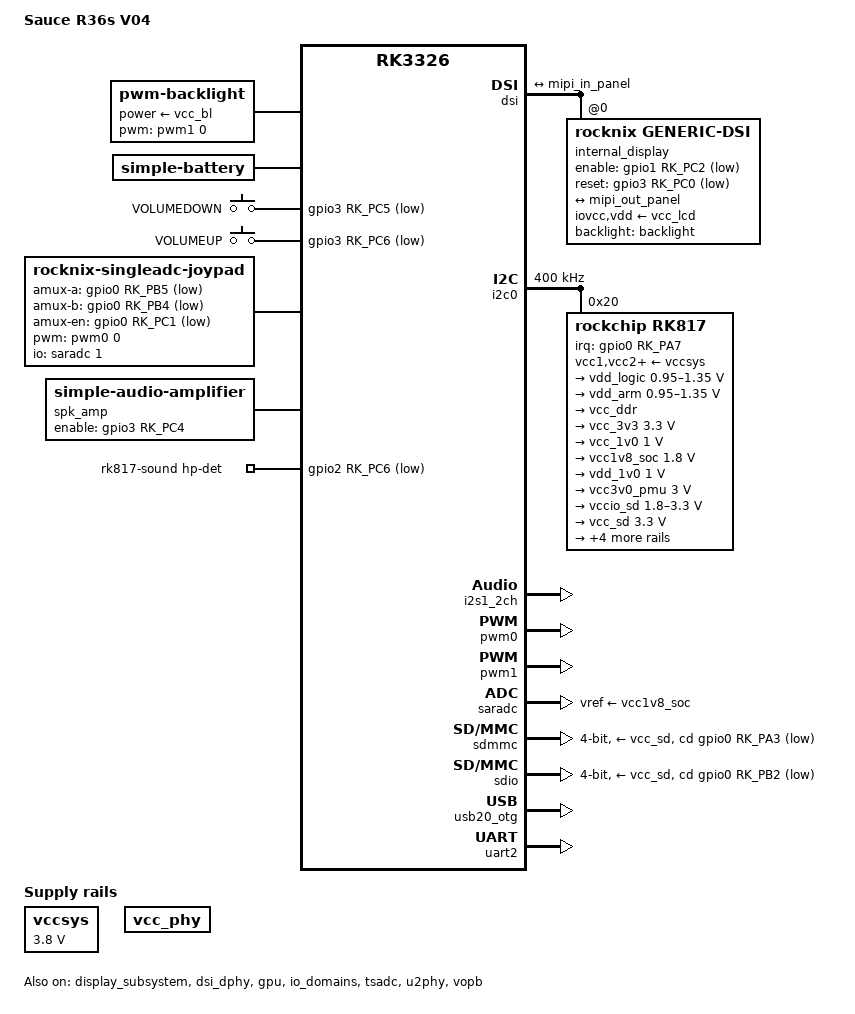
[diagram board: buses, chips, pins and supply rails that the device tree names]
// SPDX-License-Identifier: (GPL-2.0+ OR MIT)
/*
* # Copyright (C) 2022-24 JELOS (https://github.com/JustEnoughLinuxOS)
*/

/dts-v1/;
#include <dt-bindings/gpio/gpio.h>
#include <dt-bindings/input/input.h>
#include <dt-bindings/leds/common.h>
#include <dt-bindings/pinctrl/rockchip.h>
#include "rk3326.dtsi"

/ {
	model = "Sauce R36s V04";
	compatible = "xifan,r36s", "rockchip,rk3326";
	
	aliases {
		mmc1 = &sdio;
		mmc0 = &sdmmc;
	};
	
	chosen {
		stdout-path = "serial2:115200n8";
	};
	
	backlight: backlight {
		compatible = "pwm-backlight";
		power-supply = <&vcc_bl>;
		pwms = <&pwm1 0 40000 0>;
		brightness-levels = <
		0   1   2   3   4   5   6   7
		8   9  10  11  12  13  14  15
		16  17  18  19  20  21  22  23
		24  25  26  27  28  29  30  31
		32  33  34  35  36  37  38  39
		40  41  42  43  44  45  46  47
		48  49  50  51  52  53  54  55
		56  57  58  59  60  61  62  63
		64  65  66  67  68  69  70  71
		72  73  74  75  76  77  78  79
		80  81  82  83  84  85  86  87
		88  89  90  91  92  93  94  95
		96  97  98  99 100 101 102 103
		104 105 106 107 108 109 110 111
		112 113 114 115 116 117 118 119
		120 121 122 123 124 125 126 127
		128 129 130 131 132 133 134 135
		136 137 138 139 140 141 142 143
		144 145 146 147 148 149 150 151
		152 153 154 155 156 157 158 159
		160 161 162 163 164 165 166 167
		168 169 170 171 172 173 174 175
		176 177 178 179 180 181 182 183
		184 185 186 187 188 189 190 191
		192 193 194 195 196 197 198 199
		200 201 202 203 204 205 206 207
		208 209 210 211 212 213 214 215
		216 217 218 219 220 221 222 223
		224 225 226 227 228 229 230 231
		232 233 234 235 236 237 238 239
		240 241 242 243 244 245 246 247
		248 249 250 251 252 253 254 255>;
		default-brightness-level = <80>;
	};
	
	battery: battery {
		compatible = "simple-battery";
		charge-full-design-microamp-hours = <3000000>;
		charge-term-current-microamp = <200000>;
		constant-charge-current-max-microamp = <1500000>;
		constant-charge-voltage-max-microvolt = <4200000>;
		factory-internal-resistance-micro-ohms = <100000>;
		voltage-max-design-microvolt = <4100000>;
		voltage-min-design-microvolt = <3300000>;
		
		ocv-capacity-celsius = <20>;
		ocv-capacity-table-0 =
		<4046950 100>, <4001920 95>, <3967900 90>, <3940000 85>,
		<3910000 80>, <3870000 75>, <3830000 70>, <3790000 65>,
		<3750000 60>, <3720000 55>, <3690000 50>, <3650000 45>,
		<3610000 40>, <3570000 35>, <3540000 30>, <3500000 25>,
		<3460000 20>, <3420000 15>, <3380000 10>, <3340000 5>,
		<3300000 0>;
	};
	
	gpio-keys-vol {
		compatible = "gpio-keys";
		autorepeat;
		pinctrl-0 = <&btn_pins_vol>;
		pinctrl-names = "default";
		
		button-vol-down {
			gpios = <&gpio3 RK_PC5 GPIO_ACTIVE_LOW>;
			label = "VOLUMEDOWN";
			linux,code = <KEY_VOLUMEDOWN>;
		};
		
		button-volume-up {
			gpios = <&gpio3 RK_PC6 GPIO_ACTIVE_LOW>;
			label = "VOLUMEUP";
			linux,code = <KEY_VOLUMEUP>;
		};
	};
	
	joypad: rocknix-singleadc-joypad {
		compatible = "rocknix-singleadc-joypad";
		pwms = <&pwm0 0 200000000 0>;
		pwm-names = "enable";
		rumble-boost-weak = <0x0000>;
		rumble-boost-strong = <0x0000>;
		
		joypad-name = "retrogame_joypad";
		joypad-vendor = <0x484B>;
		joypad-product = <0x1101>;
		joypad-revision = <0x0100>;
		
		status = "okay";
		
		/* gpio pincontrol setup */
		pinctrl-names = "default";
		pinctrl-0 = <&btn_pins>;
		pinctrl-1 = <&pwm0_pin>;
		
		/* Analog mux define */
		io-channel-names = "amux_adc";
		io-channels = <&saradc 1>;
		
		/* adc mux channel count */
		amux-count = <4>;
		amux-channel-mapping = <3 2 0 1>;
		/* adc mux select(a,b) gpio */
		amux-a-gpios = <&gpio0 RK_PB5 GPIO_ACTIVE_LOW>;
		amux-b-gpios = <&gpio0 RK_PB4 GPIO_ACTIVE_LOW>;
		/* adc mux enable gpio */
		amux-en-gpios = <&gpio0 RK_PC1 GPIO_ACTIVE_LOW>;
		
		/* adc calculate scale */
		button-adc-scale = <2>;
		
		/* adc deadzone range  */
		button-adc-deadzone = <64>;
		
		/*
		specifies fuzz value that is used to filter noise from
		the event stream.
		*/
		button-adc-fuzz = <32>;
		button-adc-flat = <32>;
		
		/*
		Analog Stick data tuning value(precent)
		p = positive direction, n = negative direction
		report value = (real_adc_data * tuning_value) / 100
		*/
		abs_x-p-tuning = <300>;
		abs_x-n-tuning = <300>;
		
		abs_y-p-tuning = <300>;
		abs_y-n-tuning = <300>;
		
		abs_rx-p-tuning = <300>;
		abs_rx-n-tuning = <300>;
		
		abs_ry-p-tuning = <300>;
		abs_ry-n-tuning = <300>;
		
		/* poll device interval (ms), adc read interval */
		poll-interval = <10>;
		
		/* required for RG36S */
		invert-absx;
		invert-absy;
		
		/* gpio button auto repeat set value : default disable */
		/*
		autorepeat;
		*/
		
		/*
		joypad driver is poll-device driver.
		poll-device is does not support wakeup-source.
		*/
		sw1 {
			gpios = <&gpio3 RK_PA7 GPIO_ACTIVE_LOW>;
			label = "GPIO DPAD-UP";
			linux,code = <BTN_DPAD_UP>;
		};
		sw2 {
			gpios = <&gpio3 RK_PB0 GPIO_ACTIVE_LOW>;
			label = "GPIO DPAD-DOWN";
			linux,code = <BTN_DPAD_DOWN>;
		};
		sw3 {
			gpios = <&gpio3 RK_PB2 GPIO_ACTIVE_LOW>;
			label = "GPIO DPAD-LEFT";
			linux,code = <BTN_DPAD_LEFT>;
		};
		sw4 {
			gpios = <&gpio3 RK_PB1 GPIO_ACTIVE_LOW>;
			label = "GPIO DPAD-RIGHT";
			linux,code = <BTN_DPAD_RIGHT>;
		};
		sw5 {
			gpios = <&gpio3 RK_PB6 GPIO_ACTIVE_LOW>;
			label = "GPIO BTN-A";
			linux,code = <BTN_EAST>;
		};
		sw6 {
			gpios = <&gpio3 RK_PB4 GPIO_ACTIVE_LOW>;
			label = "GPIO BTN-B";
			linux,code = <BTN_SOUTH>;
		};
		sw7 {
			gpios = <&gpio3 RK_PB3 GPIO_ACTIVE_LOW>;
			label = "GPIO BTN-Y";
			linux,code = <BTN_WEST>;
		};
		sw8 {
			gpios = <&gpio3 RK_PB5 GPIO_ACTIVE_LOW>;
			label = "GPIO BTN-X";
			linux,code = <BTN_NORTH>;
		};
		sw11 {
			gpios = <&gpio0 RK_PB3 GPIO_ACTIVE_LOW>;
			label = "BTN_THUMBL";
			linux,code = <BTN_THUMBL>;
		};
		sw12 {
			gpios = <&gpio3 RK_PD3 GPIO_ACTIVE_LOW>;
			label = "BTN_THUMBR";
			linux,code = <BTN_THUMBR>;
		};
		sw13 {
			gpios = <&gpio3 RK_PA4 GPIO_ACTIVE_LOW>;
			label = "GPIO BTN_F";
			linux,code = <BTN_MODE>;
		};
		sw15 {
			gpios = <&gpio3 RK_PA3 GPIO_ACTIVE_LOW>;
			label = "GPIO BTN_TL";
			linux,code = <BTN_TL>;
		};
		sw16 {
			gpios = <&gpio3 RK_PA0 GPIO_ACTIVE_LOW>;
			label = "GPIO BTN_TR";
			linux,code = <BTN_TR>;
		};
		sw19 {
			gpios = <&gpio3 RK_PA5 GPIO_ACTIVE_LOW>;
			label = "BTN_SELECT";
			linux,code = <BTN_SELECT>;
		};
		sw20 {
			gpios = <&gpio3 RK_PA2 GPIO_ACTIVE_LOW>;
			label = "GPIO BTN_TL2";
			linux,code = <BTN_TL2>;
		};
		sw21 {
			gpios = <&gpio3 RK_PA1 GPIO_ACTIVE_LOW>;
			label = "GPIO BTN_TR2";
			linux,code = <BTN_TR2>;
		};
		sw22 {
			gpios = <&gpio3 RK_PA6 GPIO_ACTIVE_LOW>;
			label = "BTN_START";
			linux,code = <BTN_START>;
		};
	};
	
	spk_amp: audio-amplifier {
		compatible = "simple-audio-amplifier";
		enable-gpios = <&gpio3 RK_PC4 GPIO_ACTIVE_HIGH>;
		pinctrl-0 = <&spk_amp_enable_h>;
		pinctrl-names = "default";
		sound-name-prefix = "Speaker Amp";
	};
	
	rk817-sound {
		compatible = "simple-audio-card";
		pinctrl-names = "default";
		pinctrl-0 = <&hp_det>;
		simple-audio-card,name = "rk817_ext";
		simple-audio-card,aux-devs = <&spk_amp>;
		simple-audio-card,format = "i2s";
		simple-audio-card,hp-det-gpio = <&gpio2 RK_PC6 GPIO_ACTIVE_LOW>;
		simple-audio-card,mclk-fs = <256>;
		simple-audio-card,widgets =
		"Microphone", "Mic Jack",
		"Headphone", "Headphones",
		"Speaker", "Speaker";
		simple-audio-card,routing =
		"MICL", "Mic Jack",
		"Headphones", "HPOL",
		"Headphones", "HPOR",
		"Speaker", "SPKO";
		
		simple-audio-card,codec {
			sound-dai = <&rk817>;
		};
		
		simple-audio-card,cpu {
			sound-dai = <&i2s1_2ch>;
		};
	};
	
	vccsys: vccsys {
		compatible = "regulator-fixed";
		regulator-name = "vcc3v8_sys";
		regulator-always-on;
		regulator-min-microvolt = <3800000>;
		regulator-max-microvolt = <3800000>;
	};
	
	vcc-phy-regulator {
		compatible = "regulator-fixed";
		regulator-name = "vcc_phy";
		regulator-always-on;
		regulator-boot-on;
	};
};

&dmc {
	center-supply = <&vdd_logic>;
};

&cpu0 {
	cpu-supply = <&vdd_arm>;
};

&cpu1 {
	cpu-supply = <&vdd_arm>;
};

&cpu2 {
	cpu-supply = <&vdd_arm>;
};

&cpu3 {
	cpu-supply = <&vdd_arm>;
};

&cru {
	assigned-clocks = <&cru PLL_NPLL>,
	<&cru ACLK_BUS_PRE>, <&cru ACLK_PERI_PRE>,
	<&cru HCLK_BUS_PRE>, <&cru HCLK_PERI_PRE>,
	<&cru PCLK_BUS_PRE>, <&cru SCLK_GPU>;
	
	assigned-clock-rates = <1188000000>,
	<200000000>, <200000000>,
	<150000000>, <150000000>,
	<100000000>, <200000000>;
};

&display_subsystem {
	status = "okay";
};

&dsi {
	status = "okay";
	
	ports {
		mipi_out: port@1 {
			reg = <1>;
			
			mipi_out_panel: endpoint {
				remote-endpoint = <&mipi_in_panel>;
			};
		};
	};
	
	internal_display: panel@0 {
		compatible = "rocknix,generic-dsi";
		iovcc-supply = <&vcc_lcd>;
		vdd-supply = <&vcc_lcd>;
		reg = <0>;
		backlight = <&backlight>;
		enable-gpios = <&gpio1 RK_PC2 GPIO_ACTIVE_LOW>;
		reset-gpios = <&gpio3 RK_PC0 GPIO_ACTIVE_LOW>;
		pinctrl-names = "default";
		pinctrl-0 = <&lcd_rst>;
		panel_description =
		"G size=71,71 delays=100,50,20,200,20 format=rgb888 lanes=4 flags=0xe03",
		
		"M clock=40760 horizontal=640,120,139,120 vertical=480,17,5,13 default=1",
		"M clock=27650 horizontal=640,188,9,190 vertical=480,13,41,5",
		"M clock=25500 horizontal=640,188,2,190 vertical=480,13,2,5",
		"M clock=23930 horizontal=640,87,39,87 vertical=480,13,63,5",
		"M clock=23460 horizontal=640,87,2,87 vertical=480,13,2,5",
		"M clock=26600 horizontal=640,87,20,87 vertical=480,13,36,5",
		"M clock=24840 horizontal=640,87,5,87 vertical=480,13,8,5",
		"# failed to find mode for fps=60.000000 c=30600 h=816 v=500",
		"M clock=30620 horizontal=640,87,38,87 vertical=480,13,100,5",
		"M clock=43580 horizontal=640,120,168,120 vertical=480,17,41,13",
		"M clock=46350 horizontal=640,120,120,120 vertical=480,17,5,13",
		"M clock=61800 horizontal=640,120,120,120 vertical=480,17,5,13",
		
		"I seq=b9f11283",
		"I seq=ba338105f90e0e2000000000000000442500910a0000024fd1000037",
		"I seq=b825",
		"I seq=bf021100",
		"I seq=b30c100a5003ff00000000",
		"I seq=c0737350500000087000",
		"I seq=bc46",
		"I seq=cc0b",
		"I seq=b480",
		"I seq=b20013f0",
		"I seq=e307070b0b030b00000000ff00c010",
		"I seq=c153001e1e77e1ccdd67773333",
		"I seq=b51010",
		"I seq=b66c7c",
		"I seq=e908000e0000b0b11131232810b0b127080004020000000004020000008888ba60240888888888888888ba713518888888888800000001000000000000000000",
		"I seq=ea970a820213070000000000008088ba17538888888888888188ba0642888888888888231000028000000000000000000000000000000000000000000000",
		"I seq=e000070b272d3f3b37050a0b0f110f12121800070b272d3f3b37050a0b0f110f121218",
		"I seq=11 wait=150",
		"I seq=29 wait=50";
		port {
			mipi_in_panel: endpoint {
				remote-endpoint = <&mipi_out_panel>;
			};
		};
	};
};

&dsi_dphy {
	status = "okay";
};

&gpu {
	mali-supply = <&vdd_logic>;
	status = "okay";
};

&i2c0 {
	clock-frequency = <400000>;
	i2c-scl-falling-time-ns = <16>;
	i2c-scl-rising-time-ns = <280>;
	status = "okay";
	
	rk817: pmic@20 {
		compatible = "rockchip,rk817";
		reg = <0x20>;
		interrupt-parent = <&gpio0>;
		interrupts = <RK_PA7 IRQ_TYPE_LEVEL_LOW>;
		clock-output-names = "rk808-clkout1", "xin32k";
		clock-names = "mclk";
		clocks = <&cru SCLK_I2S1_OUT>;
		pinctrl-names = "default";
		pinctrl-0 = <&pmic_int>, <&i2s1_2ch_mclk>;
		rockchip,system-power-controller;
		wakeup-source;
		#clock-cells = <1>;
		#sound-dai-cells = <0>;
		
		vcc1-supply = <&vccsys>;
		vcc2-supply = <&vccsys>;
		vcc3-supply = <&vccsys>;
		vcc4-supply = <&vccsys>;
		vcc5-supply = <&vccsys>;
		vcc6-supply = <&vccsys>;
		vcc7-supply = <&vccsys>;
		vcc8-supply = <&vccsys>;
		
		regulators {
			vdd_logic: DCDC_REG1 {
				regulator-name = "vdd_logic";
				regulator-min-microvolt = <950000>;
				regulator-max-microvolt = <1350000>;
				regulator-initial-mode = <0x02>;
				regulator-ramp-delay = <6001>;
				regulator-always-on;
				regulator-boot-on;
				
				regulator-state-mem {
					regulator-on-in-suspend;
					regulator-suspend-microvolt = <950000>;
				};
			};
			
			vdd_arm: DCDC_REG2 {
				regulator-name = "vdd_arm";
				regulator-min-microvolt = <950000>;
				regulator-max-microvolt = <1350000>;
				regulator-ramp-delay = <6001>;
				regulator-initial-mode = <0x02>;
				regulator-always-on;
				regulator-boot-on;
				
				regulator-state-mem {
					regulator-off-in-suspend;
					regulator-suspend-microvolt = <950000>;
				};
			};
			
			vcc_ddr: DCDC_REG3 {
				regulator-name = "vcc_ddr";
				regulator-always-on;
				regulator-boot-on;
				regulator-initial-mode = <0x02>;
				
				regulator-state-mem {
					regulator-on-in-suspend;
				};
			};
			
			vcc_3v3: DCDC_REG4 {
				regulator-name = "vcc_3v3";
				regulator-min-microvolt = <3300000>;
				regulator-max-microvolt = <3300000>;
				regulator-initial-mode = <0x02>;
				regulator-always-on;
				regulator-boot-on;
				
				regulator-state-mem {
					regulator-on-in-suspend;
					regulator-suspend-microvolt = <3300000>;
				};
			};
			
			vcc_1v0: LDO_REG1 {
				regulator-name = "vcc_1v0";
				regulator-always-on;
				regulator-boot-on;
				regulator-min-microvolt = <1000000>;
				regulator-max-microvolt = <1000000>;
				
				regulator-state-mem {
					regulator-off-in-suspend;
					regulator-suspend-microvolt = <1000000>;
				};
			};
			
			vcc1v8_soc: LDO_REG2 {
				regulator-name = "vcc1v8_soc";
				regulator-min-microvolt = <1800000>;
				regulator-max-microvolt = <1800000>;
				regulator-always-on;
				regulator-boot-on;
				
				regulator-state-mem {
					regulator-on-in-suspend;
					regulator-suspend-microvolt = <1800000>;
				};
			};
			
			vdd_1v0: LDO_REG3 {
				regulator-name = "vdd_1v0";
				regulator-min-microvolt = <1000000>;
				regulator-max-microvolt = <1000000>;
				regulator-always-on;
				regulator-boot-on;
				
				regulator-state-mem {
					regulator-on-in-suspend;
					regulator-suspend-microvolt = <1000000>;
				};
			};
			
			vcc3v0_pmu: LDO_REG4 {
				regulator-name = "vcc3v0_pmu";
				regulator-min-microvolt = <3000000>;
				regulator-max-microvolt = <3000000>;
				regulator-always-on;
				regulator-boot-on;
				
				regulator-state-mem {
					regulator-on-in-suspend;
					regulator-suspend-microvolt = <3000000>;
				};
			};
			
			vccio_sd: LDO_REG5 {
				regulator-name = "vccio_sd";
				regulator-min-microvolt = <1800000>;
				regulator-max-microvolt = <3300000>;
				regulator-always-on;
				regulator-boot-on;
				
				regulator-state-mem {
					regulator-on-in-suspend;
					regulator-suspend-microvolt = <3300000>;
				};
			};
			
			vcc_sd: LDO_REG6 {
				regulator-name = "vcc_sd";
				regulator-min-microvolt = <3300000>;
				regulator-max-microvolt = <3300000>;
				regulator-boot-on;
				
				regulator-state-mem {
					regulator-on-in-suspend;
					regulator-suspend-microvolt = <3300000>;
				};
			};
			
			vcc_bl: LDO_REG7 {
				regulator-name = "vcc_bl";
				regulator-min-microvolt = <3300000>;
				regulator-max-microvolt = <3300000>;
				regulator-always-on;
				regulator-boot-on;
				
				regulator-state-mem {
					regulator-off-in-suspend;
					regulator-suspend-microvolt = <3300000>;
				};
			};
			
			vcc_lcd: LDO_REG8 {
				regulator-name = "vcc_lcd";
				regulator-min-microvolt = <3300000>;
				regulator-max-microvolt = <3300000>;
				regulator-always-on;
				regulator-boot-on;
				
				regulator-state-mem {
					regulator-on-in-suspend;
					regulator-suspend-microvolt = <3300000>;
				};
			};
			
			vdd_11: LDO_REG9 {
				regulator-min-microvolt = <1100000>;
				regulator-max-microvolt = <1100000>;
				regulator-name = "vdd_11";
				regulator-always-on;
				regulator-boot-on;
				
				regulator-state-mem {
					regulator-on-in-suspend;
					regulator-suspend-microvolt = <1100000>;
				};
			};
			
			usb_midu: BOOST {
				regulator-name = "usb_midu";
				regulator-min-microvolt = <4700000>;
				regulator-max-microvolt = <5400000>;
				regulator-always-on;
				regulator-boot-on;
			};
			
		};
		
		rk817_charger: charger {
			monitored-battery = <&battery>;
			rockchip,resistor-sense-micro-ohms = <10000>;
			rockchip,sleep-enter-current-microamp = <300000>;
			rockchip,sleep-filter-current-microamp = <100000>;
		};
		
		rk817_codec: codec {
			rockchip,mic-in-differential;
		};
	};
};

/* I2S 1 Channel Used Header(P2):1(GPIO2.C3),2(.C2), 3(.C1), 4(.C5), 5(.C4) */
&i2s1_2ch {
	status = "okay";
	#sound-dai-cells = <0>;
};

&io_domains {
	vccio1-supply = <&vccio_sd>;
	vccio2-supply = <&vccio_sd>;
	vccio3-supply = <&vcc_3v3>;
	vccio4-supply = <&vcc_3v3>;
	vccio5-supply = <&vcc_3v3>;
	vccio6-supply = <&vcc_3v3>;
	status = "okay";
};

&pmu_io_domains {
	pmuio1-supply = <&vcc3v0_pmu>;
	pmuio2-supply = <&vcc3v0_pmu>;
	status = "okay";
};

&pwm0 {
	status = "okay";
};

&pwm1 {
	status = "okay";
};

&saradc {
	vref-supply = <&vcc1v8_soc>;
	status = "okay";
};

&sdmmc {
	bus-width = <4>;
	cap-sd-highspeed;
	card-detect-delay = <800>;
	cd-gpios = <&gpio0 RK_PA3 GPIO_ACTIVE_LOW>; /*[> CD GPIO <]*/
	disable-wp;
	sd-uhs-sdr12;
	sd-uhs-sdr25;
	sd-uhs-sdr50;
	sd-uhs-sdr104;
	vmmc-supply = <&vcc_sd>;
	vqmmc-supply = <&vccio_sd>;
	status = "okay";
};

&sdio {
	bus-width = <4>;
	cap-sd-highspeed;
	card-detect-delay = <800>;
	cd-gpios = <&gpio0 RK_PB2 GPIO_ACTIVE_LOW>; /*[> CD GPIO <]*/
	disable-wp;
	sd-uhs-sdr12;
	sd-uhs-sdr25;
	sd-uhs-sdr50;
	sd-uhs-sdr104;
	vmmc-supply = <&vcc_sd>;
	vqmmc-supply = <&vccio_sd>;
	status = "okay";
};

&tsadc {
	status = "okay";
};

&u2phy {
	status = "okay";
	
	u2phy_host: host-port {
		status = "okay";
	};
	
	u2phy_otg: otg-port {
		status = "disabled";
	};
};

&usb20_otg {
	status = "okay";
};

&uart2 {
	pinctrl-names = "default";
	pinctrl-0 = <&uart2m1_xfer>;
	status = "okay";
};

&vopb {
	status = "okay";
};

&vopb_mmu {
	status = "okay";
};

&pinctrl {
	btns {
		btn_pins: btn-pins {
			rockchip,pins =
			<3 RK_PA7 RK_FUNC_GPIO &pcfg_pull_up>,
			<3 RK_PB0 RK_FUNC_GPIO &pcfg_pull_up>,
			<3 RK_PB2 RK_FUNC_GPIO &pcfg_pull_up>,
			<3 RK_PB1 RK_FUNC_GPIO &pcfg_pull_up>,
			<3 RK_PB6 RK_FUNC_GPIO &pcfg_pull_up>,
			<3 RK_PB4 RK_FUNC_GPIO &pcfg_pull_up>,
			<3 RK_PB3 RK_FUNC_GPIO &pcfg_pull_up>,
			<3 RK_PB5 RK_FUNC_GPIO &pcfg_pull_up>,
			<0 RK_PB3 RK_FUNC_GPIO &pcfg_pull_up>,
			<3 RK_PD3 RK_FUNC_GPIO &pcfg_pull_up>,
			<3 RK_PA4 RK_FUNC_GPIO &pcfg_pull_up>,
			<3 RK_PA3 RK_FUNC_GPIO &pcfg_pull_up>,
			<3 RK_PA0 RK_FUNC_GPIO &pcfg_pull_up>,
			<3 RK_PA5 RK_FUNC_GPIO &pcfg_pull_up>,
			<3 RK_PA2 RK_FUNC_GPIO &pcfg_pull_up>,
			<3 RK_PA1 RK_FUNC_GPIO &pcfg_pull_up>,
			<3 RK_PA6 RK_FUNC_GPIO &pcfg_pull_up>,
			<0 RK_PB5 RK_FUNC_GPIO &pcfg_pull_up>,
			<0 RK_PB4 RK_FUNC_GPIO &pcfg_pull_up>,
			<0 RK_PC1 RK_FUNC_GPIO &pcfg_pull_up>;
		};
		btn_pins_vol: btn-pins-vol {
			rockchip,pins =
			<3 RK_PC5 RK_FUNC_GPIO &pcfg_pull_up>,
			<3 RK_PC6 RK_FUNC_GPIO &pcfg_pull_up>;
		};
	};
	headphone {
		hp_det: hp-det {
			rockchip,pins = <2 RK_PC6 RK_FUNC_GPIO &pcfg_pull_none>;
		};
	};
	
	gpio-lcd {
		lcd_rst: lcd-rst {
			rockchip,pins =
			<3 RK_PC0 RK_FUNC_GPIO &pcfg_pull_none>,
			<1 RK_PC2 RK_FUNC_GPIO &pcfg_pull_none>;
		};
	};
	
	pmic {
		
		pmic_int: pmic_int {
			rockchip,pins =
			<0 RK_PA7 RK_FUNC_GPIO &pcfg_pull_up>,
			<3 RK_PC7 RK_FUNC_GPIO &pcfg_pull_none>;
		};
		
		soc_slppin_gpio: soc_slppin_gpio {
			rockchip,pins = <0 RK_PA4 RK_FUNC_GPIO &pcfg_output_low>;
		};
		
		soc_slppin_rst: soc_slppin_rst {
			rockchip,pins = <0 RK_PA4 2 &pcfg_pull_none>;
		};
		
		soc_slppin_slp: soc_slppin_slp {
			rockchip,pins = <0 RK_PA4 1 &pcfg_pull_none>;
		};
	};
	
	speaker {
		spk_amp_enable_h: spk-amp-enable-h {
			rockchip,pins =
			<3 RK_PC4 RK_FUNC_GPIO &pcfg_pull_none>;
		};
	};
};
